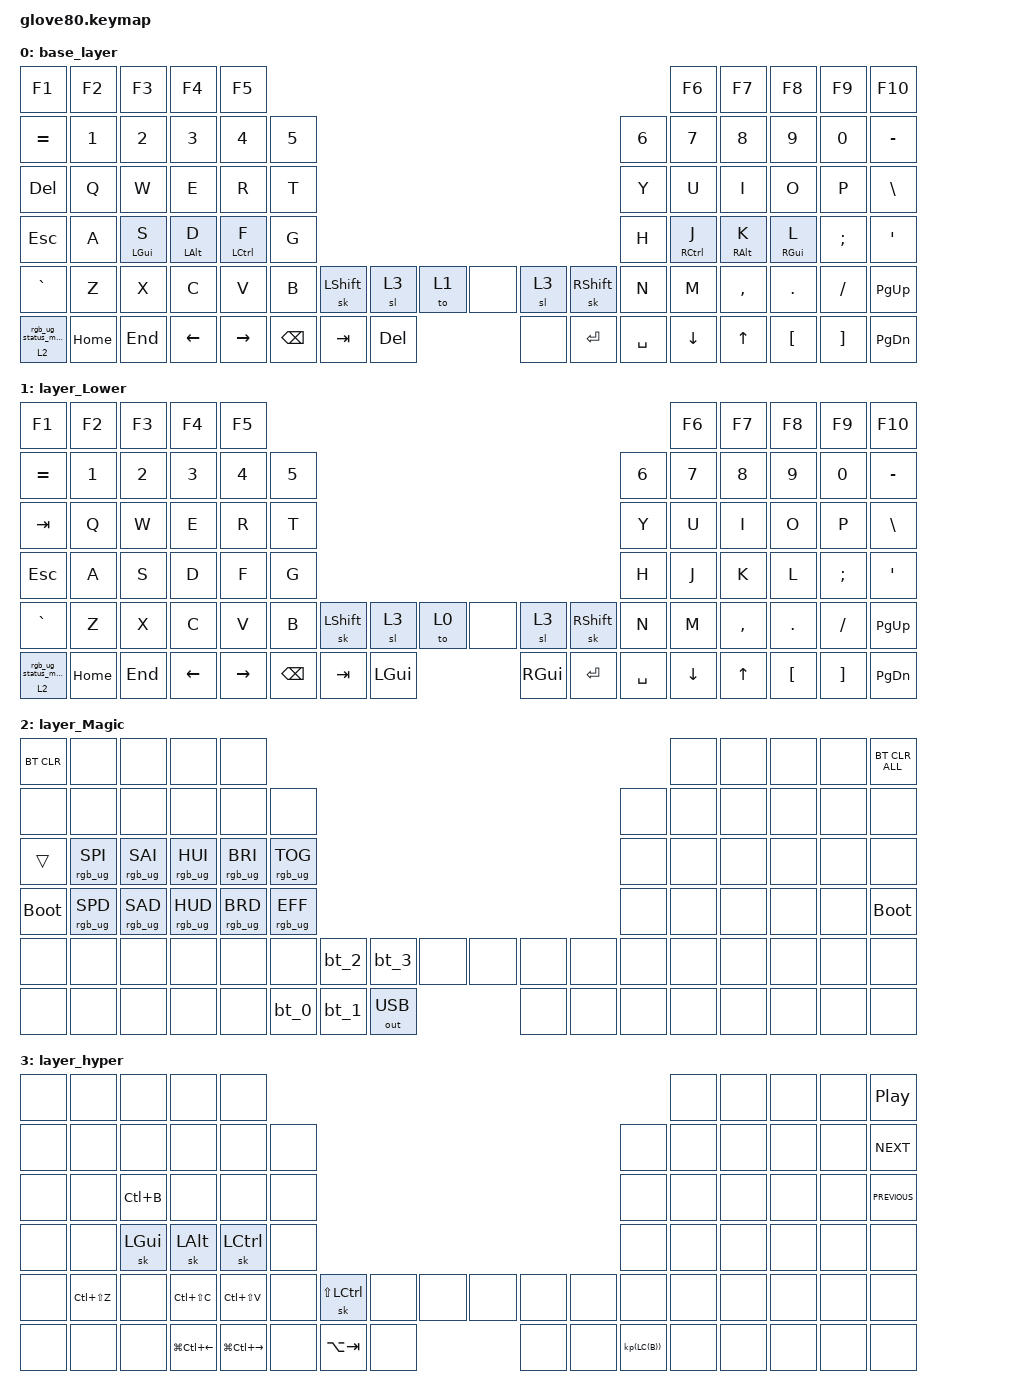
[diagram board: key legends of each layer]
/*

 * Copyright (c) 2020 The ZMK Contributors
 * Copyright (c) 2022 Innaworks Development Limited, trading as MoErgo
 *
 * SPDX-License-Identifier: MIT
 */


/* THIS FILE WAS GENERATED BY GLOVE80 LAYOUT EDITOR

 * This file was generated automatically. You may or may not want to
 * edit it directly.
 */

#include <behaviors.dtsi>
/* Include all behaviour includes needed by system behaviors/macros */
#include <dt-bindings/zmk/outputs.h>

/* Include behaviour includes needed by key binds - automatically generated */
#include <dt-bindings/zmk/keys.h>
#include <dt-bindings/zmk/bt.h>
#include <dt-bindings/zmk/rgb.h>
#include <dt-bindings/zmk/outputs.h>

#define LOWER 1
#define HYPER 3

/ {
    /* Glove80 system behavior & macros */
    behaviors {
        // For the "layer" key, it'd nice to be able to use it as either a shift or a toggle.
        // Configure it as a tap dance, so the first tap (or hold) is a &mo and the second tap is a &to
        lower: tap_dance_0 {
            compatible = "zmk,behavior-tap-dance";
            label = "LAYER_TAP_DANCE";
            #binding-cells = <0>;
            tapping-term-ms = <200>;
            bindings = <&mo 1>, <&to 1>;
        };
    };

    macros {
        rgb_ug_status_macro: rgb_ug_status_macro_0 {
            label = "RGB_UG_STATUS";
            compatible = "zmk,behavior-macro";
            #binding-cells = <0>;
            bindings
                = <&rgb_ug RGB_STATUS>;
        };
        bt_0: bt_profile_macro_0 {
            label = "BT_0";
            compatible = "zmk,behavior-macro";
            #binding-cells = <0>;
            bindings
                = <&out OUT_BLE>,
                  <&bt BT_SEL 0>;
        };
        bt_1: bt_profile_macro_1 {
            label = "BT_1";
            compatible = "zmk,behavior-macro";
            #binding-cells = <0>;
            bindings
                = <&out OUT_BLE>,
                  <&bt BT_SEL 1>;
        };
        bt_2: bt_profile_macro_2 {
            label = "BT_2";
            compatible = "zmk,behavior-macro";
            #binding-cells = <0>;
            bindings
                = <&out OUT_BLE>,
                  <&bt BT_SEL 2>;
        };
        bt_3: bt_profile_macro_3 {
            label = "BT_3";
            compatible = "zmk,behavior-macro";
            #binding-cells = <0>;
            bindings
                = <&out OUT_BLE>,
                  <&bt BT_SEL 3>;
        };
    };

    magic: magic_hold_tap {
        compatible = "zmk,behavior-hold-tap";
        label = "MAGIC_HOLD_TAP";
        #binding-cells = <2>;
        flavor = "tap-preferred";
        tapping-term-ms = <200>;
        bindings = <&mo>, <&rgb_ug_status_macro>;
    };

    hm: homerow_mod_tap {
        compatible = "zmk,behavior-hold-tap";
        #binding-cells = <2>;
        flavor = "tap-preferred";
        tapping-term-ms = <200>;
        bindings = <&kp>, <&kp>;
    };

    /* Automatically generated keymap */
    keymap {
        compatible = "zmk,keymap";


        base_layer {
            bindings = <
     &kp F1      &kp F2      &kp F3       &kp F4        &kp F5                                                                                                       &kp F6        &kp F7        &kp F8        &kp F9       &kp F10
     &kp EQUAL   &kp N1      &kp N2       &kp N3        &kp N4         &kp N5                                                                              &kp N6    &kp N7        &kp N8        &kp N9        &kp N0       &kp MINUS
     &kp DELETE  &kp Q       &kp W        &kp E         &kp R          &kp T                                                                               &kp Y     &kp U         &kp I         &kp O         &kp P        &kp BSLH
     &kp ESC     &kp A       &hm LGUI S   &hm LALT D    &hm LCTRL F    &kp G                                                                               &kp H     &hm RCTRL J   &hm RALT K    &hm RGUI L    &kp SEMI     &kp SQT
     &kp GRAVE   &kp Z       &kp X        &kp C         &kp V          &kp B    &sk LSHFT  &sl 3     &to 1      &none   &sl 3     &sk RSHFT               &kp N     &kp M         &kp COMMA     &kp DOT       &kp FSLH     &kp PG_UP
     &magic 2 0  &kp HOME    &kp END      &kp LEFT      &kp RIGHT               &kp  BSPC   &kp TAB   &kp DELETE &none   &kp RET  &kp  SPACE                         &kp DOWN      &kp UP        &kp LBKT      &kp RBKT     &kp PG_DN
            >;
        };

        layer_Lower {
            bindings = <
     &kp F1      &kp F2      &kp F3       &kp F4        &kp F5                                                                                             &kp F6    &kp F7        &kp F8        &kp F9        &kp F10
     &kp EQUAL   &kp N1      &kp N2       &kp N3        &kp N4         &kp N5                                                                              &kp N6    &kp N7        &kp N8        &kp N9        &kp N0       &kp MINUS
     &kp TAB     &kp Q       &kp W        &kp E         &kp R          &kp T                                                                               &kp Y     &kp U         &kp I         &kp O         &kp P        &kp BSLH
     &kp ESC     &kp A       &kp S        &kp D         &kp F          &kp G                                                                               &kp H     &kp J         &kp K         &kp L         &kp SEMI     &kp SQT
     &kp GRAVE   &kp Z       &kp X        &kp C         &kp V          &kp B    &sk  LSHFT  &sl 3    &to 0      &none     &sl 3     &sk RSHFT             &kp N     &kp M         &kp COMMA     &kp DOT       &kp FSLH     &kp PG_UP
     &magic 2 0  &kp HOME    &kp END      &kp LEFT      &kp RIGHT               &kp  BSPC   &kp TAB  &kp LGUI   &kp RGUI  &kp RET   &kp SPACE                        &kp DOWN      &kp UP        &kp LBKT      &kp RBKT     &kp PG_DN
            >;
        };

        layer_Magic {
            bindings = <
     &bt BT_CLR   &none            &none            &none            &none                                                                                     &none   &none   &none   &none  &bt BT_CLR_ALL
     &none        &none            &none            &none            &none            &none                                                            &none   &none   &none   &none   &none  &none
     &trans       &rgb_ug RGB_SPI  &rgb_ug RGB_SAI  &rgb_ug RGB_HUI  &rgb_ug RGB_BRI  &rgb_ug RGB_TOG                                                  &none   &none   &none   &none   &none  &none
     &bootloader  &rgb_ug RGB_SPD  &rgb_ug RGB_SAD  &rgb_ug RGB_HUD  &rgb_ug RGB_BRD  &rgb_ug RGB_EFF                                                  &none   &none   &none   &none   &none  &bootloader
     &none        &none            &none            &none            &none            &none       &bt_2   &bt_3  &none         &none   &none   &none   &none   &none   &none   &none   &none  &none
     &none        &none            &none            &none            &none                        &bt_0   &bt_1  &out OUT_USB  &none   &none   &none           &none   &none   &none   &none  &none
            >;
        };

        layer_hyper {
            bindings = <
       &none            &none            &none                  &none               &none                                                                                                     &none             &none           &none                &none  &kp C_PLAY_PAUSE
       &none            &none            &none                  &none               &none             &none                                                                 &none             &none             &none           &none                &none  &kp C_NEXT
       &none            &none            &kp LC(B)              &none               &none             &none                                                                 &none             &none             &none           &none                &none  &kp C_PREVIOUS
       &none            &none            &sk LGUI               &sk LALT            &sk LCTRL         &none                                                                 &none             &none             &none           &none                &none  &none
       &none            &kp LC(LS(Z))    &none                  &kp LC(LS(C))       &kp LC(LS(V))     &none      &sk LS(LCTRL)  &none        &none  &none  &none   &none    &none             &none             &none           &none                &none  &none
       &none            &none            &none                  &kp LG(LC(LEFT))    &kp LG(LC(RIGHT))            &none          &kp LA(TAB)  &none  &none  &none   &kp(LC(B))                 &none             &none           &none                &none  &none
            >;
        };
    };
};
